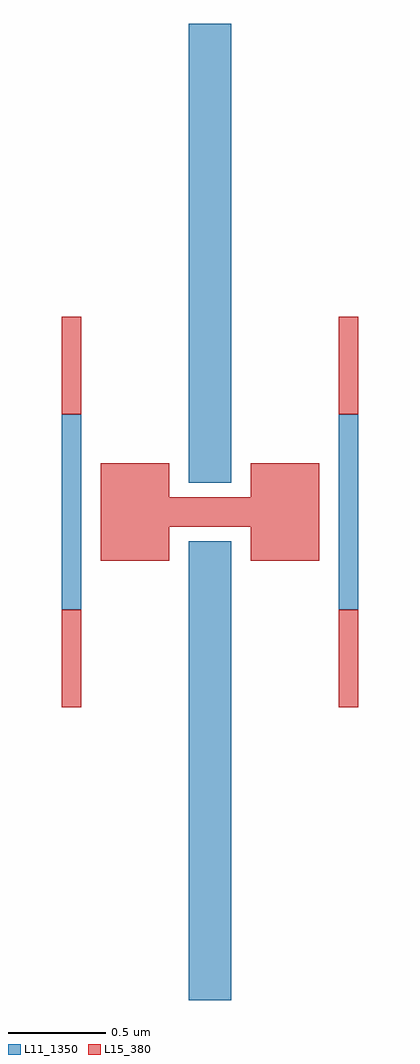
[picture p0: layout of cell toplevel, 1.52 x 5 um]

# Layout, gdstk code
import gdstk
lib = gdstk.Library(unit=1e-6, precision=1e-09)
def R(c, l, rs):  # rectangles x0, y0, x1, y1
    for r in rs: c.add(gdstk.rectangle(r[:2], r[2:], *l))
def P(c, l, *ps):  # polygons
    for p in ps: c.add(gdstk.Polygon(p, *l))
L11_1350 = (11, 1350)
L15_380 = (15, 380)

boolean = lib.new_cell('boolean')
R(boolean, L11_1350, [(-0.11,-2.5,0.11,-0.15), (-0.11,0.15,0.11,2.5)])

junction = lib.new_cell('Junction')
junction.add(gdstk.Reference(boolean, (0,0)))

rectangle002 = lib.new_cell('rectangle002')
R(rectangle002, L15_380, [(0,1,0.1,1.5)])

rectangle003 = lib.new_cell('rectangle003')
R(rectangle003, L15_380, [(0,-0.5,0.1,0)])

rectangle = lib.new_cell('rectangle')
R(rectangle, L11_1350, [(0,0,0.1,1)])
rectangle.add(gdstk.Reference(rectangle002, (0,0)))
rectangle.add(gdstk.Reference(rectangle003, (0,0)))

boolean004 = lib.new_cell('boolean004')
P(boolean004, L15_380, [(-0.21,-0.075),(0.21,-0.075),(0.21,-0.25),(0.56,-0.25),(0.56,0.25),(0.21,0.25),(0.21,0.075),(-0.21,0.075),(-0.21,0.25),(-0.56,0.25),(-0.56,-0.25),(-0.21,-0.25)])

h_undercut_with_boxes = lib.new_cell('H undercut with boxes')
h_undercut_with_boxes.add(gdstk.Reference(rectangle, (-0.76,-0.5)))
h_undercut_with_boxes.add(gdstk.Reference(rectangle, (0.66,-0.5)))
h_undercut_with_boxes.add(gdstk.Reference(boolean004, (0,0)))

toplevel = lib.new_cell('toplevel')
toplevel.add(gdstk.Reference(junction, (0,0)))
toplevel.add(gdstk.Reference(h_undercut_with_boxes, (0,0)))

lib.write_gds('toplevel.gds')
